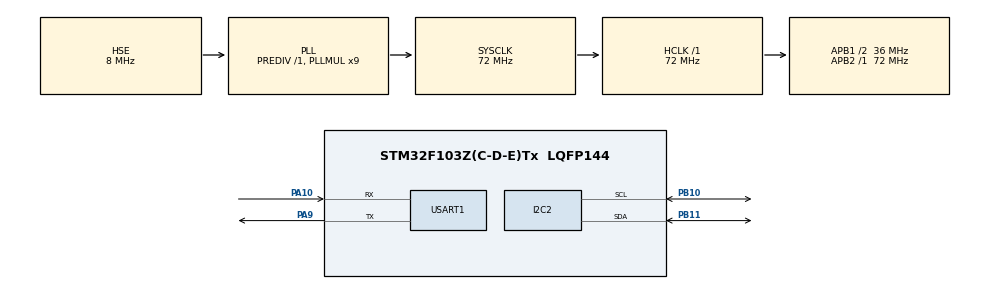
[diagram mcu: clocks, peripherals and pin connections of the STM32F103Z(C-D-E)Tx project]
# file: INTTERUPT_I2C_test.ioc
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Dma.I2C2_RX.0.Direction=DMA_PERIPH_TO_MEMORY
Dma.I2C2_RX.0.Instance=DMA1_Channel5
Dma.I2C2_RX.0.MemDataAlignment=DMA_MDATAALIGN_BYTE
Dma.I2C2_RX.0.MemInc=DMA_MINC_ENABLE
Dma.I2C2_RX.0.Mode=DMA_NORMAL
Dma.I2C2_RX.0.PeriphDataAlignment=DMA_PDATAALIGN_BYTE
Dma.I2C2_RX.0.PeriphInc=DMA_PINC_DISABLE
Dma.I2C2_RX.0.Priority=DMA_PRIORITY_LOW
Dma.I2C2_TX.1.Direction=DMA_MEMORY_TO_PERIPH
Dma.I2C2_TX.1.Instance=DMA1_Channel4
Dma.I2C2_TX.1.MemDataAlignment=DMA_MDATAALIGN_BYTE
Dma.I2C2_TX.1.MemInc=DMA_MINC_ENABLE
Dma.I2C2_TX.1.Mode=DMA_NORMAL
Dma.I2C2_TX.1.PeriphDataAlignment=DMA_PDATAALIGN_BYTE
Dma.I2C2_TX.1.PeriphInc=DMA_PINC_DISABLE
Dma.I2C2_TX.1.Priority=DMA_PRIORITY_LOW
Dma.Request0=I2C2_RX
Dma.Request1=I2C2_TX
I2C2.I2C_Mode=I2C_Fast
Mcu.Family=STM32F1
Mcu.Name=STM32F103Z(C-D-E)Tx
Mcu.Package=LQFP144
NVIC.DMA1_Channel4_IRQn=true\:0\:0\:false\:false\:true\:false\:true\:true
NVIC.DMA1_Channel5_IRQn=true\:0\:0\:false\:false\:true\:false\:true\:true
NVIC.I2C2_ER_IRQn=true\:0\:0\:false\:false\:true\:true\:true\:true
NVIC.I2C2_EV_IRQn=true\:0\:0\:false\:false\:true\:true\:true\:true
NVIC.PriorityGroup=NVIC_PRIORITYGROUP_4
OSC_IN.Mode=HSE-External-Oscillator
OSC_IN.Signal=RCC_OSC_IN
OSC_OUT.Mode=HSE-External-Oscillator
OSC_OUT.Signal=RCC_OSC_OUT
PA10.Mode=Asynchronous
PA10.Signal=USART1_RX
PA13.Mode=Serial_Wire
PA13.Signal=SYS_JTMS-SWDIO
PA14.Mode=Serial_Wire
PA14.Signal=SYS_JTCK-SWCLK
PA9.Mode=Asynchronous
PA9.Signal=USART1_TX
PB10.Mode=I2C
PB10.Signal=I2C2_SCL
PB11.Mode=I2C
PB11.Signal=I2C2_SDA
ProjectManager.HeapSize=0x200
ProjectManager.StackSize=0x400
ProjectManager.TargetToolchain=MDK-ARM V5.32
RCC.AHBFreq_Value=72000000
RCC.APB1CLKDivider=RCC_HCLK_DIV2
RCC.APB1Freq_Value=36000000
RCC.APB1TimFreq_Value=72000000
RCC.APB2Freq_Value=72000000
RCC.APB2TimFreq_Value=72000000
RCC.HCLKFreq_Value=72000000
RCC.PLLMUL=RCC_PLL_MUL9
RCC.PLLSourceVirtual=RCC_PLLSOURCE_HSE
RCC.SYSCLKFreq_VALUE=72000000
RCC.SYSCLKSource=RCC_SYSCLKSOURCE_PLLCLK
RCC.USBFreq_Value=72000000
USART1.Parity=PARITY_ODD
USART1.VirtualMode=VM_ASYNC
USART1.WordLength=WORDLENGTH_9B
board=custom

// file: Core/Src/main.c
/* USER CODE BEGIN Header */
/**
  ******************************************************************************
  * @file           : main.c
  * @brief          : Main program body
  ******************************************************************************
  * @attention
  *
  * Copyright (c) 2026 STMicroelectronics.
  * All rights reserved.
  *
  * This software is licensed under terms that can be found in the LICENSE file
  * in the root directory of this software component.
  * If no LICENSE file comes with this software, it is provided AS-IS.
  *
  ******************************************************************************
  */
/* USER CODE END Header */
#include "main.h"

/* USER CODE BEGIN Includes */
#include "BSP_Usart_Redir.h"
#include "BSP_AT24C02_DMA.h"
/* USER CODE END Includes */

I2C_HandleTypeDef hi2c2;
DMA_HandleTypeDef hdma_i2c2_rx;
DMA_HandleTypeDef hdma_i2c2_tx;

UART_HandleTypeDef huart1;

/* USER CODE BEGIN PV */
uint8_t tx_buffer[8] ={0x11,0x22,0x33,0x55,0x66,0x77,0x88};
uint8_t rx_buffer[8] ={0};
/* USER CODE END PV */

void SystemClock_Config(void);
static void MX_GPIO_Init(void);
static void MX_DMA_Init(void);
static void MX_I2C2_Init(void);
static void MX_USART1_UART_Init(void);
/* USER CODE BEGIN PFP */
void EEPROM_Write_callback(bool result);
void EEPROM_Read_callback(bool result);
/* USER CODE END PFP */

int main(void)
{

  /* MCU Configuration--------------------------------------------------------*/

  /* Reset of all peripherals, Initializes the Flash interface and the Systick. */
  HAL_Init();

  /* Configure the system clock */
  SystemClock_Config();

  /* Initialize all configured peripherals */
  MX_GPIO_Init();
  MX_DMA_Init();
  MX_I2C2_Init();
  MX_USART1_UART_Init();
  /* USER CODE BEGIN 2 */
  BSP_Usart_Init(&huart1);
  BSP_AT24C02_Init(&hi2c2);

  // BSP_AT24C02_Write_Page_DMA(0x00,tx_buffer,8,EEPROM_Write_callback);
  BSP_AT24C02_Read_DMA(0x00,rx_buffer,8,EEPROM_Read_callback);

  // printf("1\n");
  /* USER CODE END 2 */

  /* Infinite loop */
  while (1)
  {

  }
}

void SystemClock_Config(void)
{
  RCC_OscInitTypeDef RCC_OscInitStruct = {0};
  RCC_ClkInitTypeDef RCC_ClkInitStruct = {0};

  /** Initializes the RCC Oscillators according to the specified parameters
  * in the RCC_OscInitTypeDef structure.
  */
  RCC_OscInitStruct.OscillatorType = RCC_OSCILLATORTYPE_HSE;
  RCC_OscInitStruct.HSEState = RCC_HSE_ON;
  RCC_OscInitStruct.HSEPredivValue = RCC_HSE_PREDIV_DIV1;
  RCC_OscInitStruct.HSIState = RCC_HSI_ON;
  RCC_OscInitStruct.PLL.PLLState = RCC_PLL_ON;
  RCC_OscInitStruct.PLL.PLLSource = RCC_PLLSOURCE_HSE;
  RCC_OscInitStruct.PLL.PLLMUL = RCC_PLL_MUL9;
  if (HAL_RCC_OscConfig(&RCC_OscInitStruct) != HAL_OK)
  {
    Error_Handler();
  }

  /** Initializes the CPU, AHB and APB buses clocks
  */
  RCC_ClkInitStruct.ClockType = RCC_CLOCKTYPE_HCLK|RCC_CLOCKTYPE_SYSCLK
                              |RCC_CLOCKTYPE_PCLK1|RCC_CLOCKTYPE_PCLK2;
  RCC_ClkInitStruct.SYSCLKSource = RCC_SYSCLKSOURCE_PLLCLK;
  RCC_ClkInitStruct.AHBCLKDivider = RCC_SYSCLK_DIV1;
  RCC_ClkInitStruct.APB1CLKDivider = RCC_HCLK_DIV2;
  RCC_ClkInitStruct.APB2CLKDivider = RCC_HCLK_DIV1;

  if (HAL_RCC_ClockConfig(&RCC_ClkInitStruct, FLASH_LATENCY_2) != HAL_OK)
  {
    Error_Handler();
  }
}

static void MX_I2C2_Init(void)
{

  hi2c2.Instance = I2C2;
  hi2c2.Init.ClockSpeed = 400000;
  hi2c2.Init.DutyCycle = I2C_DUTYCYCLE_2;
  hi2c2.Init.OwnAddress1 = 0;
  hi2c2.Init.AddressingMode = I2C_ADDRESSINGMODE_7BIT;
  hi2c2.Init.DualAddressMode = I2C_DUALADDRESS_DISABLE;
  hi2c2.Init.OwnAddress2 = 0;
  hi2c2.Init.GeneralCallMode = I2C_GENERALCALL_DISABLE;
  hi2c2.Init.NoStretchMode = I2C_NOSTRETCH_DISABLE;
  if (HAL_I2C_Init(&hi2c2) != HAL_OK)
  {
    Error_Handler();
  }

}

static void MX_USART1_UART_Init(void)
{

  huart1.Instance = USART1;
  huart1.Init.BaudRate = 115200;
  huart1.Init.WordLength = UART_WORDLENGTH_9B;
  huart1.Init.StopBits = UART_STOPBITS_1;
  huart1.Init.Parity = UART_PARITY_ODD;
  huart1.Init.Mode = UART_MODE_TX_RX;
  huart1.Init.HwFlowCtl = UART_HWCONTROL_NONE;
  huart1.Init.OverSampling = UART_OVERSAMPLING_16;
  if (HAL_UART_Init(&huart1) != HAL_OK)
  {
    Error_Handler();
  }

}

static void MX_DMA_Init(void)
{

  /* DMA controller clock enable */
  __HAL_RCC_DMA1_CLK_ENABLE();

  /* DMA interrupt init */
  /* DMA1_Channel4_IRQn interrupt configuration */
  HAL_NVIC_SetPriority(DMA1_Channel4_IRQn, 0, 0);
  HAL_NVIC_EnableIRQ(DMA1_Channel4_IRQn);
  /* DMA1_Channel5_IRQn interrupt configuration */
  HAL_NVIC_SetPriority(DMA1_Channel5_IRQn, 0, 0);
  HAL_NVIC_EnableIRQ(DMA1_Channel5_IRQn);

}

static void MX_GPIO_Init(void)
{

  /* GPIO Ports Clock Enable */
  __HAL_RCC_GPIOB_CLK_ENABLE();
  __HAL_RCC_GPIOA_CLK_ENABLE();

}

/* USER CODE BEGIN 4 */
void EEPROM_Write_callback(bool result)
{
  if(result)
  {
    printf(">>> 写入page成功");
  }else{
    printf(">>> 写入page失败");
  }
}

void EEPROM_Read_callback(bool result)
{
  if(result)
  {
    printf(">>> 读page成功");
    for(int i = 0; i<8 ; i++)
    {
      printf("0x%x ",rx_buffer[i]);
    }
    printf("\n");
  }
  else{
    printf(">>> 读page失败");
  }
}
/* USER CODE END 4 */

void Error_Handler(void)
{
  __disable_irq();
  while (1)
  {
  }
}
